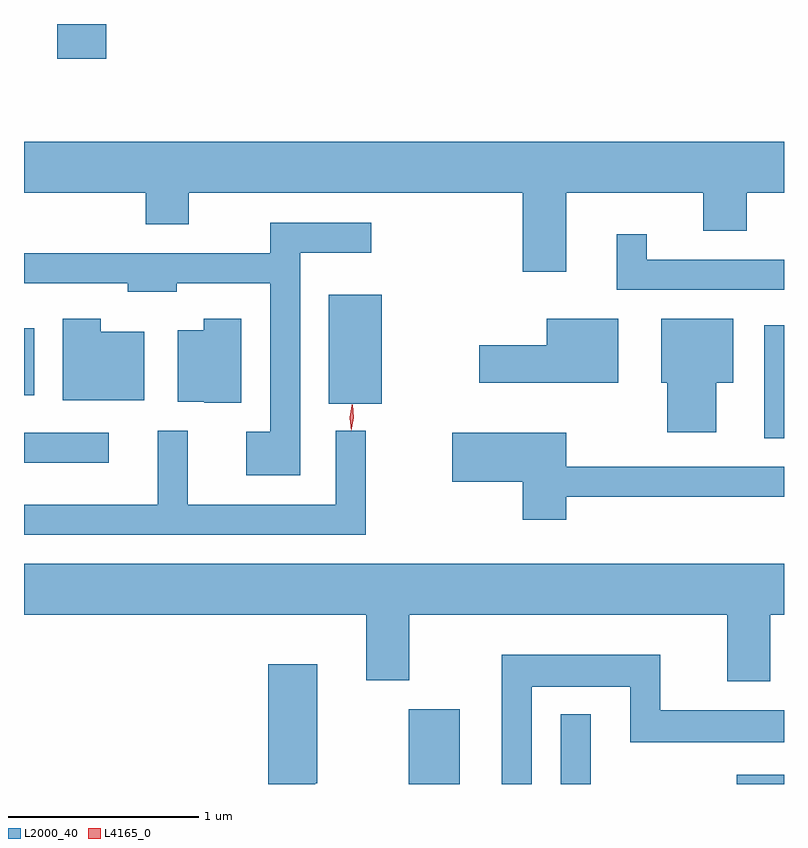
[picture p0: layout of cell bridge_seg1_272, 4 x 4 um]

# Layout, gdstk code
import gdstk
lib = gdstk.Library(unit=1e-6, precision=1e-09)
def R(c, l, rs):  # rectangles x0, y0, x1, y1
    for r in rs: c.add(gdstk.rectangle(r[:2], r[2:], *l))
def P(c, l, *ps):  # polygons
    for p in ps: c.add(gdstk.Polygon(p, *l))
L2000_40 = (2000, 40)
L4165_0 = (4165, 0)

bridge_seg1_272 = lib.new_cell('bridge_seg1_272')
R(bridge_seg1_272, L2000_40, [(902.356,896.465,902.624,896.859), (903.156,896.465,903.314,896.833), (904.081,896.465,904.331,896.514), (900.331,898.156,900.778,898.314), (904.226,898.286,904.331,898.879), (901.936,898.466,902.214,899.039), (900.331,898.511,900.384,898.864), (900.506,900.281,900.764,900.465)])
P(bridge_seg1_272, L2000_40, [(903.184,899.576),(903.906,899.576),(903.906,899.376),(904.134,899.376),(904.134,899.576),(904.331,899.576),(904.331,899.844),(900.331,899.844),(900.331,899.576),(900.971,899.576),(900.971,899.411),(901.199,899.411),(901.199,899.576),(902.956,899.576),(902.956,899.161),(903.184,899.161)],
  [(901.784,899.261),(902.158,899.261),(902.158,899.419),(901.626,899.419),(901.626,899.259),(900.331,899.259),(900.331,899.101),(900.876,899.101),(900.876,899.056),(901.134,899.056),(901.134,899.101),(901.626,899.101),(901.626,898.319),(901.501,898.319),(901.501,898.091),(901.784,898.091)],
  [(904.331,899.224),(903.609,899.224),(903.609,899.358),(903.451,899.358),(903.451,899.066),(904.331,899.066)],
  [(900.964,898.844),(900.734,898.844),(900.734,898.914),(900.536,898.914),(900.536,898.486),(900.964,898.486)],
  [(903.974,898.576),(904.064,898.576),(904.064,898.914),(903.686,898.914),(903.686,898.576),(903.716,898.576),(903.716,898.316),(903.974,898.316)],
  [(903.459,898.914),(903.081,898.914),(903.081,898.774),(902.726,898.774),(902.726,898.576),(903.459,898.576)],
  [(901.474,898.914),(901.276,898.914),(901.276,898.854),(901.141,898.854),(901.141,898.476),(901.28,898.476),(901.28,898.471),(901.474,898.471)],
  [(902.129,898.323),(901.971,898.323),(901.971,897.934),(901.194,897.934),(901.194,898.323),(901.036,898.323),(901.036,897.934),(900.331,897.934),(900.331,897.776),(902.129,897.776)],
  [(903.184,897.976),(904.331,897.976),(904.331,898.134),(903.184,898.134),(903.184,898.314),(902.586,898.314),(902.586,898.056),(902.956,898.056),(902.956,897.856),(903.184,897.856)],
  [(904.259,897.356),(904.331,897.356),(904.331,897.624),(900.331,897.624),(900.331,897.356),(902.131,897.356),(902.131,897.011),(902.359,897.011),(902.359,897.356),(904.031,897.356),(904.031,897.006),(904.259,897.006)],
  [(903.004,896.976),(903.521,896.976),(903.521,896.686),(904.331,896.686),(904.331,896.854),(903.679,896.854),(903.679,897.144),(902.846,897.144),(902.846,896.465),(903.004,896.465)],
  [(901.864,896.47),(901.874,896.47),(901.874,897.094),(901.616,897.094),(901.616,896.465),(901.864,896.465)])
P(bridge_seg1_272, L4165_0, [(902.053,898.328),(902.045,898.394),(902.056,898.459),(902.056,898.46),(902.057,898.459),(902.065,898.393),(902.054,898.328),(902.054,898.328)],
  [(902.054,898.324),(902.053,898.325),(902.046,898.393),(902.058,898.461),(902.059,898.462),(902.06,898.461),(902.066,898.393),(902.054,898.325)])

lib.write_gds('bridge_seg1_272.gds')
